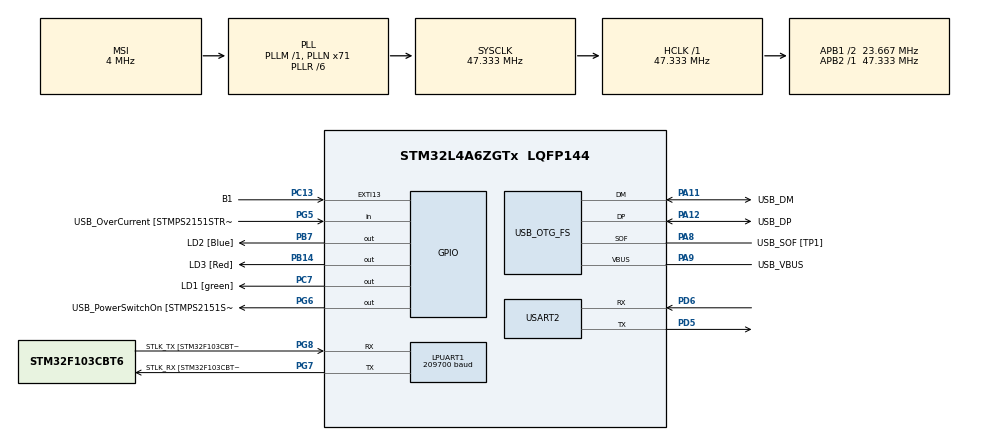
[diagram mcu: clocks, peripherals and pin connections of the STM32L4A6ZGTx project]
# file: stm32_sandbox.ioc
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LPUART1.AutoBaudRateEnableParam=UART_ADVFEATURE_AUTOBAUDRATE_DISABLE
LPUART1.BaudRate=209700
LPUART1.DMADisableonRxErrorParam=UART_ADVFEATURE_DMA_ENABLEONRXERROR
LPUART1.DataInvertParam=UART_ADVFEATURE_DATAINV_DISABLE
LPUART1.MSBFirstParam=UART_ADVFEATURE_MSBFIRST_DISABLE
LPUART1.Mode=UART_MODE_TX_RX
LPUART1.OneBitSampling=UART_ONE_BIT_SAMPLE_DISABLE
LPUART1.OverrunDisableParam=UART_ADVFEATURE_OVERRUN_ENABLE
LPUART1.Parity=UART_PARITY_NONE
LPUART1.RxPinLevelInvertParam=UART_ADVFEATURE_RXINV_DISABLE
LPUART1.StopBits=UART_STOPBITS_1
LPUART1.SwapParam=UART_ADVFEATURE_SWAP_DISABLE
LPUART1.TxPinLevelInvertParam=UART_ADVFEATURE_TXINV_DISABLE
LPUART1.WordLength=UART_WORDLENGTH_7B
Mcu.Family=STM32L4
Mcu.Name=STM32L4A6ZGTx
Mcu.Package=LQFP144
NVIC.EXTI15_10_IRQn=true\:0\:0\:false\:false\:true\:true\:false\:true
NVIC.PriorityGroup=NVIC_PRIORITYGROUP_4
PA10.GPIO_Label=USB_ID
PA10.Signal=USB_OTG_FS_ID
PA11.GPIO_Label=USB_DM
PA11.Mode=Device_Only
PA11.Signal=USB_OTG_FS_DM
PA12.GPIO_Label=USB_DP
PA12.Mode=Device_Only
PA12.Signal=USB_OTG_FS_DP
PA13\ (JTMS/SWDIO).GPIO_Label=TMS
PA13\ (JTMS/SWDIO).Mode=Trace_Asynchronous_SW
PA13\ (JTMS/SWDIO).Signal=SYS_JTMS-SWDIO
PA14\ (JTCK/SWCLK).GPIO_Label=TCK
PA14\ (JTCK/SWCLK).Mode=Trace_Asynchronous_SW
PA14\ (JTCK/SWCLK).Signal=SYS_JTCK-SWCLK
PA8.GPIO_Label=USB_SOF [TP1]
PA8.Mode=Activate_SOF_FS
PA8.Signal=USB_OTG_FS_SOF
PA9.GPIO_Label=USB_VBUS
PA9.Mode=Activate_VBUS
PA9.Signal=USB_OTG_FS_VBUS
PB14.GPIO_Label=LD3 [Red]
PB14.Signal=GPIO_Output
PB3\ (JTDO/TRACESWO).GPIO_Label=SWO
PB3\ (JTDO/TRACESWO).Mode=Trace_Asynchronous_SW
PB3\ (JTDO/TRACESWO).Signal=SYS_JTDO-SWO
PB7.GPIO_Label=LD2 [Blue]
PB7.Signal=GPIO_Output
PC13.GPIO_Label=B1
PC13.Signal=GPXTI13
PC14-OSC32_IN\ (PC14).Mode=LSE-External-Oscillator
PC14-OSC32_IN\ (PC14).Signal=RCC_OSC32_IN
PC15-OSC32_OUT\ (PC15).Mode=LSE-External-Oscillator
PC15-OSC32_OUT\ (PC15).Signal=RCC_OSC32_OUT
PC7.GPIO_Label=LD1 [green]
PC7.Signal=GPIO_Output
PD5.Mode=Asynchronous
PD5.Signal=USART2_TX
PD6.Mode=Asynchronous
PD6.Signal=USART2_RX
PG5.GPIO_Label=USB_OverCurrent [STMPS2151STR_FAULT]
PG5.Signal=GPIO_Input
PG6.GPIO_Label=USB_PowerSwitchOn [STMPS2151STR_EN]
PG6.Signal=GPIO_Output
PG7.GPIO_Label=STLK_RX [STM32F103CBT6_PA3]
PG7.Mode=Asynchronous
PG7.Signal=LPUART1_TX
PG8.GPIO_Label=STLK_TX [STM32F103CBT6_PA2]
PG8.Mode=Asynchronous
PG8.Signal=LPUART1_RX
PH1-OSC_OUT\ (PH1).Signal=RCC_OSC_OUT
ProjectManager.HeapSize=0x200
ProjectManager.StackSize=0x400
ProjectManager.TargetToolchain=Makefile
RCC.ADCFreq_Value=48000000
RCC.AHBFreq_Value=47333333.333333336
RCC.APB1CLKDivider=RCC_HCLK_DIV2
RCC.APB1Freq_Value=23666666.666666668
RCC.APB1TimFreq_Value=47333333.333333336
RCC.APB2Freq_Value=47333333.333333336
RCC.APB2TimFreq_Value=47333333.333333336
RCC.CortexFreq_Value=47333333.333333336
RCC.FLatency=FLASH_LATENCY_2
RCC.HCLKFreq_Value=47333333.333333336
RCC.HSE_VALUE=8000000
RCC.HSI48_VALUE=48000000
RCC.HSI_VALUE=16000000
RCC.MSI_VALUE=4000000
RCC.PLLN=71
RCC.PLLR=RCC_PLLR_DIV6
RCC.PLLSAI1N=24
RCC.SYSCLKFreq_VALUE=47333333.333333336
RCC.SYSCLKSource=RCC_SYSCLKSOURCE_PLLCLK
RCC.USBFreq_Value=48000000
RCC.VCOOutputFreq_Value=284000000
USART2.VirtualMode-Asynchronous=VM_ASYNC
USB_OTG_FS.Sof_enable=ENABLE
USB_OTG_FS.VirtualMode=Device_Only
USB_OTG_FS.battery_charging_enable=ENABLE
USB_OTG_FS.low_power_enable=DISABLE
USB_OTG_FS.lpm_enable=DISABLE
USB_OTG_FS.use_dedicated_ep1=DISABLE
USB_OTG_FS.vbus_sensing_enable=ENABLE
board=NUCLEO-L4A6ZG

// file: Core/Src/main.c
/* USER CODE BEGIN Header */
/**
  ******************************************************************************
  * @file           : main.c
  * @brief          : Main program body
  ******************************************************************************
  * @attention
  *
  * Copyright (c) 2023 STMicroelectronics.
  * All rights reserved.
  *
  * This software is licensed under terms that can be found in the LICENSE file
  * in the root directory of this software component.
  * If no LICENSE file comes with this software, it is provided AS-IS.
  *
  ******************************************************************************
  */
/* USER CODE END Header */
#include "main.h"
#include "usart.h"
#include "usb_otg.h"
#include "gpio.h"

void SystemClock_Config(void);

/* USER CODE BEGIN 0 */
__IO uint8_t ubButtonPress = 0;
__IO uint8_t index_v = 1;
__IO uint8_t stop = 0;
const uint8_t NUM_OF_FLASHING_PERIODS = 4;
__IO uint16_t period_ms[] = {100, 200, 400, 800};
void user_button_callback(void)
{
  /* Update button press variable : to be checked in waiting loop in main program */
  // index_v += 1;
  // index_v = index_v % NUM_OF_FLASHING_PERIODS;
  stop ^= 1;
}
/* USER CODE END 0 */

int main(void)
{

  /* MCU Configuration--------------------------------------------------------*/

  /* Reset of all peripherals, Initializes the Flash interface and the Systick. */
  HAL_Init();

  /* Configure the system clock */
  SystemClock_Config();

  /* Initialize all configured peripherals */
  MX_GPIO_Init();
  MX_LPUART1_UART_Init();
  MX_USB_OTG_FS_PCD_Init();
  MX_USART2_UART_Init();

  /* Infinite loop */
  /* USER CODE BEGIN WHILE */
  while (1)
  {
/*
    LL_GPIO_TogglePin(GPIOC, LL_GPIO_PIN_7);
    HAL_Delay(period_ms[index_v]);
    LL_GPIO_TogglePin(GPIOC, LL_GPIO_PIN_7);
    LL_GPIO_TogglePin(GPIOB, LL_GPIO_PIN_7);
    HAL_Delay(period_ms[index_v]);
    LL_GPIO_TogglePin(GPIOB, LL_GPIO_PIN_7);
    LL_GPIO_TogglePin(GPIOB, LL_GPIO_PIN_14);
    HAL_Delay(period_ms[index_v]);
    LL_GPIO_TogglePin(GPIOB, LL_GPIO_PIN_14);
     */
    LL_GPIO_TogglePin(GPIOC, LL_GPIO_PIN_7);
    HAL_Delay(period_ms[index_v]);
    while (stop) {
      HAL_Delay(period_ms[index_v]);
    }

    LL_GPIO_TogglePin(GPIOC, LL_GPIO_PIN_7);
    LL_GPIO_TogglePin(GPIOB, LL_GPIO_PIN_7);
    HAL_Delay(period_ms[index_v]);
    while (stop) {
      HAL_Delay(period_ms[index_v]);
    }

    LL_GPIO_TogglePin(GPIOB, LL_GPIO_PIN_7);
    LL_GPIO_TogglePin(GPIOB, LL_GPIO_PIN_14);
    HAL_Delay(period_ms[index_v]);
    while (stop) {
      HAL_Delay(period_ms[index_v]);
    }

    LL_GPIO_TogglePin(GPIOB, LL_GPIO_PIN_14);
    // HAL_Delay(period_ms[index_v]);
    // while (stop) {
    //   HAL_Delay(period_ms[index_v]);
    // }
    /* USER CODE END WHILE */

  }
}

void SystemClock_Config(void)
{
  RCC_OscInitTypeDef RCC_OscInitStruct = {0};
  RCC_ClkInitTypeDef RCC_ClkInitStruct = {0};

  /** Configure the main internal regulator output voltage
  */
  if (HAL_PWREx_ControlVoltageScaling(PWR_REGULATOR_VOLTAGE_SCALE1) != HAL_OK)
  {
    Error_Handler();
  }

  /** Configure LSE Drive Capability
  */
  HAL_PWR_EnableBkUpAccess();
  __HAL_RCC_LSEDRIVE_CONFIG(RCC_LSEDRIVE_LOW);

  /** Initializes the RCC Oscillators according to the specified parameters
  * in the RCC_OscInitTypeDef structure.
  */
  RCC_OscInitStruct.OscillatorType = RCC_OSCILLATORTYPE_LSE|RCC_OSCILLATORTYPE_MSI;
  RCC_OscInitStruct.LSEState = RCC_LSE_ON;
  RCC_OscInitStruct.MSIState = RCC_MSI_ON;
  RCC_OscInitStruct.MSICalibrationValue = 0;
  RCC_OscInitStruct.MSIClockRange = RCC_MSIRANGE_6;
  RCC_OscInitStruct.PLL.PLLState = RCC_PLL_ON;
  RCC_OscInitStruct.PLL.PLLSource = RCC_PLLSOURCE_MSI;
  RCC_OscInitStruct.PLL.PLLM = 1;
  RCC_OscInitStruct.PLL.PLLN = 71;
  RCC_OscInitStruct.PLL.PLLP = RCC_PLLP_DIV2;
  RCC_OscInitStruct.PLL.PLLQ = RCC_PLLQ_DIV2;
  RCC_OscInitStruct.PLL.PLLR = RCC_PLLR_DIV6;
  if (HAL_RCC_OscConfig(&RCC_OscInitStruct) != HAL_OK)
  {
    Error_Handler();
  }

  /** Initializes the CPU, AHB and APB buses clocks
  */
  RCC_ClkInitStruct.ClockType = RCC_CLOCKTYPE_HCLK|RCC_CLOCKTYPE_SYSCLK
                              |RCC_CLOCKTYPE_PCLK1|RCC_CLOCKTYPE_PCLK2;
  RCC_ClkInitStruct.SYSCLKSource = RCC_SYSCLKSOURCE_PLLCLK;
  RCC_ClkInitStruct.AHBCLKDivider = RCC_SYSCLK_DIV1;
  RCC_ClkInitStruct.APB1CLKDivider = RCC_HCLK_DIV2;
  RCC_ClkInitStruct.APB2CLKDivider = RCC_HCLK_DIV1;

  if (HAL_RCC_ClockConfig(&RCC_ClkInitStruct, FLASH_LATENCY_2) != HAL_OK)
  {
    Error_Handler();
  }

  /** Enable MSI Auto calibration
  */
  HAL_RCCEx_EnableMSIPLLMode();
}

void Error_Handler(void)
{
  __disable_irq();
  while (1)
  {
  }
}
